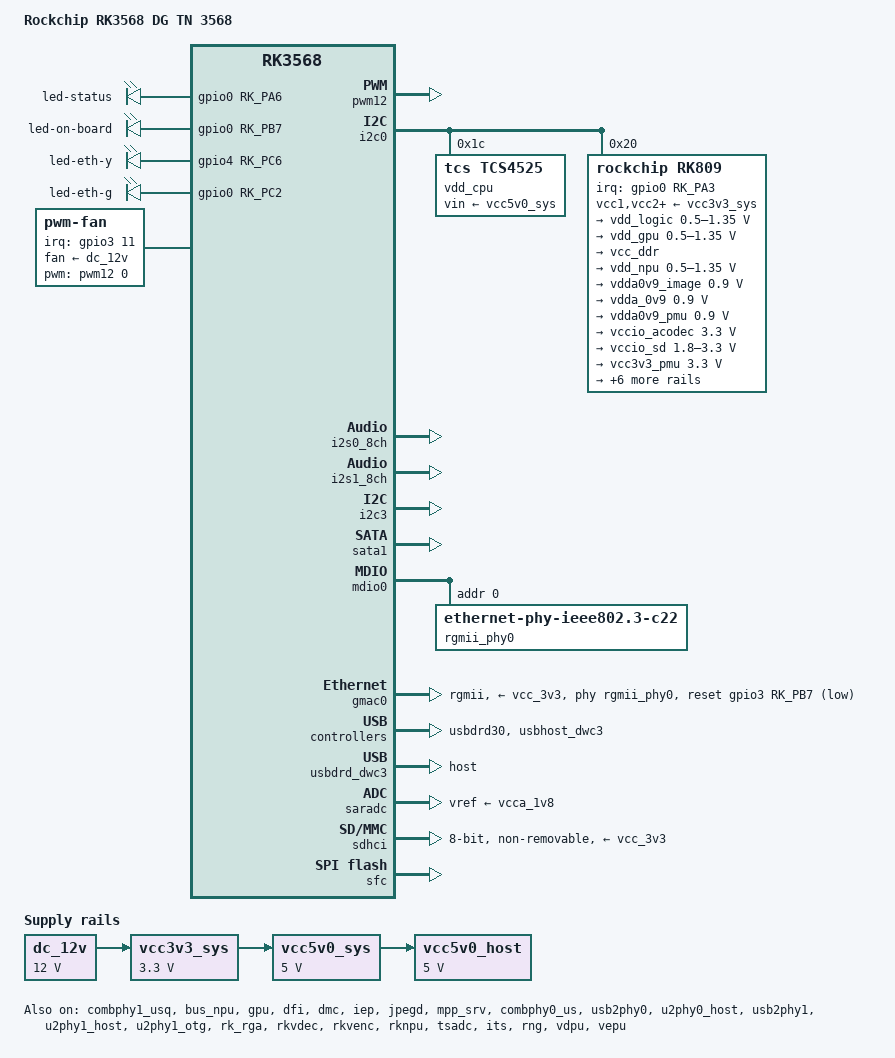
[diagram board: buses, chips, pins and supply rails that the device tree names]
// SPDX-License-Identifier: (GPL-2.0+ OR MIT)
/*
 * Copyright (c) 2020 Rockchip Electronics Co., Ltd.
 *
 */

/dts-v1/;

#include <dt-bindings/gpio/gpio.h>
#include <dt-bindings/pwm/pwm.h>
#include <dt-bindings/pinctrl/rockchip.h>
#include <dt-bindings/input/rk-input.h>
#include <dt-bindings/input/rk-ir.h>
#include <dt-bindings/display/drm_mipi_dsi.h>
#include <dt-bindings/display/rockchip_vop.h>
#include <dt-bindings/sensor-dev.h>
#include <dt-bindings/display/rockchip_vop.h>
#include "rk3568.dtsi"
#include "rk3568-linux.dtsi"

/ {

    model = "Rockchip RK3568 DG TN 3568";
	compatible = "rockchip,DG-tn3568", "rockchip,rk3568";
	
	chosen: chosen {
		bootargs = "earlycon=uart8250,mmio32,0xfe660000 console=ttyFIQ0";
	};


	dc_12v: dc-12v {
		compatible = "regulator-fixed";
		regulator-name = "dc_12v";
		regulator-always-on;
		regulator-boot-on;
		regulator-min-microvolt = <12000000>;
		regulator-max-microvolt = <12000000>;
	};

	vcc3v3_sys: vcc3v3-sys {
		compatible = "regulator-fixed";
		regulator-name = "vcc3v3_sys";
		regulator-always-on;
		regulator-boot-on;
		regulator-min-microvolt = <3300000>;
		regulator-max-microvolt = <3300000>;
		vin-supply = <&dc_12v>;
	};	


	vcc5v0_sys: vcc5v0-sys {
		compatible = "regulator-fixed";
		regulator-name = "vcc5v0_sys";
		regulator-always-on;
		regulator-boot-on;
		regulator-min-microvolt = <5000000>;
		regulator-max-microvolt = <5000000>;
		vin-supply = <&vcc3v3_sys>;
	};

	vcc5v0_host: vcc5v0-host-regulator {
		compatible = "regulator-fixed";
		regulator-name = "vcc5v0_host";
		regulator-boot-on;
		regulator-always-on;
		regulator-min-microvolt = <5000000>;
		regulator-max-microvolt = <5000000>;

		vin-supply = <&vcc5v0_sys>;

	};

	test-power {
		status = "okay";
	};	

	leds {
		compatible = "gpio-leds";

		led_status: led-status {
			label = "led-status";
			gpios = <&gpio0 RK_PA6 GPIO_ACTIVE_HIGH>;
			linux,default-trigger = "heartbeat";
			pinctrl-names = "default";
			pinctrl-0 = <&led_sys_h>;
		};

		led_on_board: led-on-board {
			label = "led-on-board";
			gpios = <&gpio0 RK_PB7 GPIO_ACTIVE_HIGH>;
			//linux,default-trigger = "heartbeat";
			pinctrl-names = "default";
			pinctrl-0 = <&led_on_board_h>;
		};

		led_eth_y: led-eth-y {
			label = "led-eth-y";
			gpios = <&gpio4 RK_PC6 GPIO_ACTIVE_HIGH>;
			linux,default-trigger = "default-on";
			pinctrl-names = "default";
			pinctrl-0 = <&led_eth_y_h>;
		};

		led_eth_g: led-eth-g {
			label = "led-eth-g";
			gpios = <&gpio0 RK_PC2 GPIO_ACTIVE_HIGH>;
			linux,default-trigger = "default-on";
			pinctrl-names = "default";
			pinctrl-0 = <&led_eth_g_h>;
		};
	};

	fan: pwm-fan {
		compatible = "pwm-fan";
		pwms = <&pwm12 0 40000 0>;
		fan-supply = <&dc_12v>;
		interrupt-parent = <&gpio3>;
		interrupts = <11 IRQ_TYPE_EDGE_FALLING>;
		pulses-per-revolution = <2>;
        cooling-levels = <0 50 100 150 200 255>;
        rockchip,temp-trips = <
                40000   1
                50000   2
                55000   3
                60000   4
                70000   5
        >;			
	};
	
};

/* 对应主线 combphy1 */
&combphy1_usq { 
	phy-supply = <&vcc5v0_host>;
    status = "okay"; 
};

/* 对应主线 combphy2 */
&combphy2_psq {
	status = "disabled";
};

&bus_npu {
	bus-supply = <&vdd_logic>;
	pvtm-supply = <&vdd_cpu>;
	status = "okay";
};

&cpu0 {
	cpu-supply = <&vdd_cpu>;
};

&cpu1 {
	cpu-supply = <&vdd_cpu>;
};

&cpu2 {
	cpu-supply = <&vdd_cpu>;
};

&cpu3 {
	cpu-supply = <&vdd_cpu>;
};

&gpu {
	//clock-names = "gpu", "bus";
	//interrupt-names = "gpu", "mmu", "job";
	mali-supply = <&vdd_gpu>;
	status = "okay";
};

&dfi {
	status = "okay";
};

&dmc {
	center-supply = <&vdd_logic>;
	status = "okay";

	system-status-level = <
		/*system status         freq level*/
		SYS_STATUS_NORMAL      DMC_FREQ_LEVEL_MID_HIGH 
	>;
	
	auto-freq-en = <0>;

};

&pwm12 {
	pinctrl-0 = <&pwm12m1_pins>;
	pinctrl-names = "active";
	status = "okay";
};


&i2c0 {
	status = "okay";


	vdd_cpu: regulator@1c {
		compatible = "tcs,tcs4525";
		reg = <0x1c>;
		fcs,suspend-voltage-selector = <1>;
		regulator-name = "vdd_cpu";
		regulator-min-microvolt = <800000>;
		regulator-max-microvolt = <1150000>;
		regulator-ramp-delay = <2300>;
		regulator-always-on;
		regulator-boot-on;
		vin-supply = <&vcc5v0_sys>;

		regulator-state-mem {
			regulator-off-in-suspend;
		};
	};

	rk809: pmic@20 {
		compatible = "rockchip,rk809";
		reg = <0x20>;
		interrupt-parent = <&gpio0>;
		interrupts = <RK_PA3 IRQ_TYPE_LEVEL_LOW>;
		#clock-cells = <1>;
		#sound-dai-cells = <0>;
		clock-output-names = "rk808-clkout1", "rk808-clkout2";
		pinctrl-names = "default";
		pinctrl-0 = <&pmic_int_l>;
		rockchip,system-power-controller;
		wakeup-source;

		vcc1-supply = <&vcc3v3_sys>;
		vcc2-supply = <&vcc3v3_sys>;
		vcc3-supply = <&vcc3v3_sys>;
		vcc4-supply = <&vcc3v3_sys>;
		vcc5-supply = <&vcc3v3_sys>;
		vcc6-supply = <&vcc3v3_sys>;
		vcc7-supply = <&vcc3v3_sys>;
		vcc8-supply = <&vcc3v3_sys>;
		vcc9-supply = <&vcc3v3_sys>;

		pwrkey {
			status = "okay";
		};

		pinctrl_rk8xx: pinctrl_rk8xx {
			gpio-controller;
			#gpio-cells = <2>;

			rk817_slppin_null: rk817_slppin_null {
				pins = "gpio_slp";
				function = "pin_fun0";
			};

			rk817_slppin_slp: rk817_slppin_slp {
				pins = "gpio_slp";
				function = "pin_fun1";
			};

			rk817_slppin_pwrdn: rk817_slppin_pwrdn {
				pins = "gpio_slp";
				function = "pin_fun2";
			};

			rk817_slppin_rst: rk817_slppin_rst {
				pins = "gpio_slp";
				function = "pin_fun3";
			};
		};

		regulators {
			vdd_logic: DCDC_REG1 {
				regulator-name = "vdd_logic";
				regulator-always-on;
				regulator-boot-on;
				regulator-min-microvolt = <500000>;
				regulator-max-microvolt = <1350000>;
				regulator-init-microvolt = <900000>;
				regulator-ramp-delay = <6001>;
				regulator-initial-mode = <0x2>;
				regulator-state-mem {
					regulator-off-in-suspend;
				};
			};

			vdd_gpu: DCDC_REG2 {
				regulator-name = "vdd_gpu";
				regulator-always-on;
				regulator-boot-on;
				regulator-min-microvolt = <500000>;
				regulator-max-microvolt = <1350000>;
				regulator-init-microvolt = <900000>;
				regulator-ramp-delay = <6001>;
				regulator-initial-mode = <0x2>;
					regulator-state-mem {
					regulator-off-in-suspend;
				};
			};

			vcc_ddr: DCDC_REG3 {
				regulator-always-on;
				regulator-boot-on;
				regulator-initial-mode = <0x2>;
				regulator-name = "vcc_ddr";
				regulator-state-mem {
					regulator-on-in-suspend;
				};
			};

			vdd_npu: DCDC_REG4 {
				regulator-always-on;
				regulator-boot-on;
				regulator-min-microvolt = <500000>;
				regulator-max-microvolt = <1350000>;
				regulator-init-microvolt = <900000>;
				regulator-initial-mode = <0x2>;
				regulator-name = "vdd_npu";
				regulator-state-mem {
					regulator-off-in-suspend;
				};
			};

			vdda0v9_image: LDO_REG1 {
				regulator-always-on;
				regulator-boot-on;
				regulator-min-microvolt = <900000>;
				regulator-max-microvolt = <900000>;
				regulator-name = "vdda0v9_image";
				regulator-state-mem {
					regulator-off-in-suspend;
				};
			};

			vdda_0v9: LDO_REG2 {
				regulator-always-on;
				regulator-boot-on;
				regulator-min-microvolt = <900000>;
				regulator-max-microvolt = <900000>;
				regulator-name = "vdda_0v9";
				regulator-state-mem {
					regulator-off-in-suspend;
				};
			};

			vdda0v9_pmu: LDO_REG3 {
				regulator-always-on;
				regulator-boot-on;
				regulator-min-microvolt = <900000>;
				regulator-max-microvolt = <900000>;
				regulator-name = "vdda0v9_pmu";
				regulator-state-mem {
					regulator-on-in-suspend;
					regulator-suspend-microvolt = <900000>;
				};
			};

			vccio_acodec: LDO_REG4 {
				regulator-always-on;
				regulator-boot-on;
				regulator-min-microvolt = <3300000>;
				regulator-max-microvolt = <3300000>;
				regulator-name = "vccio_acodec";
				regulator-state-mem {
					regulator-off-in-suspend;
				};
			};

			vccio_sd: LDO_REG5 {
				regulator-name = "vccio_sd";
				regulator-always-on;
				regulator-boot-on;
				regulator-min-microvolt = <1800000>;
				regulator-max-microvolt = <3300000>;

				regulator-state-mem {
					regulator-off-in-suspend;
				};
			};

			vcc3v3_pmu: LDO_REG6 {
				regulator-name = "vcc3v3_pmu";
				regulator-always-on;
				regulator-boot-on;
				regulator-min-microvolt = <3300000>;
				regulator-max-microvolt = <3300000>;

				regulator-state-mem {
					regulator-on-in-suspend;
					regulator-suspend-microvolt = <3300000>;
				};
			};

			vcca_1v8: LDO_REG7 {
				regulator-name = "vcca_1v8";
				regulator-always-on;
				regulator-boot-on;
				regulator-min-microvolt = <1800000>;
				regulator-max-microvolt = <1800000>;

				regulator-state-mem {
					regulator-off-in-suspend;
				};
			};

			vcca1v8_pmu: LDO_REG8 {
				regulator-name = "vcca1v8_pmu";
				regulator-always-on;
				regulator-boot-on;
				regulator-min-microvolt = <1800000>;
				regulator-max-microvolt = <1800000>;

				regulator-state-mem {
					regulator-on-in-suspend;
					regulator-suspend-microvolt = <1800000>;
				};
			};

			vcca1v8_image: LDO_REG9 {
				regulator-name = "vcca1v8_image";
				regulator-min-microvolt = <1800000>;
				regulator-max-microvolt = <1800000>;

				regulator-state-mem {
					regulator-off-in-suspend;
				};
			};

			vcc_1v8: DCDC_REG5 {
				regulator-always-on;
				regulator-boot-on;
				regulator-min-microvolt = <1800000>;
				regulator-max-microvolt = <1800000>;
				regulator-name = "vcc_1v8";
				regulator-state-mem {
					regulator-off-in-suspend;
				};
			};

			vcc_3v3: SWITCH_REG1 {
				regulator-name = "vcc_3v3";
				regulator-always-on;
				regulator-boot-on;

				regulator-state-mem {
					regulator-off-in-suspend;
				};
			};

			vcc3v3_sd: SWITCH_REG2 {
				regulator-name = "vcc3v3_sd";
				regulator-always-on;
				regulator-boot-on;

				regulator-state-mem {
					regulator-off-in-suspend;
				};
			};
		};
	};
};

&i2s0_8ch {
	status = "okay";
};

&i2s1_8ch {
	status = "okay";
	rockchip,clk-trcm = <1>;
	pinctrl-names = "default";
	pinctrl-0 = <&i2s1m0_sclktx
		     &i2s1m0_lrcktx
		     &i2s1m0_sdi0
		     &i2s1m0_sdo0>;
};

&i2c3 {
	status = "okay";
};

&iep {
	status = "okay";
};

&iep_mmu {
	status = "okay";
};

&jpegd {
	status = "okay";
};

&jpegd_mmu {
	status = "okay";
};

&mpp_srv {
	status = "okay";
};

&sata1 {
    status = "okay";
};

&mdio0 {
	rgmii_phy0: phy@0 {
		compatible = "ethernet-phy-ieee802.3-c22";
		reg = <0x0>;
	};
};

&gmac0 {
	phy-mode = "rgmii";
	clock_in_out = "input";

	snps,reset-gpio = <&gpio3 RK_PB7 GPIO_ACTIVE_LOW>;
	snps,reset-active-low;
	/* Reset time is 20ms, 100ms for rtl8211f */
	snps,reset-delays-us = <0 20000 100000>;

	assigned-clocks = <&cru SCLK_GMAC0_RX_TX>, <&cru SCLK_GMAC0>;
	assigned-clock-parents = <&cru SCLK_GMAC0_RGMII_SPEED>, <&cru CLK_MAC0_2TOP>;
	assigned-clock-rates = <0>, <125000000>;

	pinctrl-names = "default";
	pinctrl-0 = <&gmac0_miim
		     &gmac0_tx_bus2
		     &gmac0_rx_bus2
		     &gmac0_rgmii_clk
		     &gmac0_rgmii_bus>;

	tx_delay = <0x2a>;
	rx_delay = <0x2a>;

	phy-handle = <&rgmii_phy0>;
	phy-supply = <&vcc_3v3>;
	status = "okay";
};	

/*
// 对应lede usb2phy0_otg
&u2phy0_otg {
	vbus-supply = <&vcc5v0_host>;
	status = "disabled";
};

// lede usb2phy1_otg
&u2phy1_otg {
	status = "okay";
};

&usb_host0_ehci {
	status = "okay";
};

&usb_host0_ohci {
	status = "okay";
};

&usb_host1_ehci {
	status = "okay";
};

&usb_host1_ohci {
	status = "okay";
};

//主线无
&usbhost30 {
	status = "okay";
};
*/

//USB3.0 OTG PHY 对应主线combphy0
&combphy0_us {
	status = "okay";
	phy-supply = <&vcc5v0_host>;
};

//主线无
&usbdrd30 {
	status = "okay";
};

/*USB3.0 controller 对应主线 usb_host0_xhci */
&usbdrd_dwc3 {
	dr_mode = "host";
	status = "okay";
};

&usb2phy0 {
	status = "okay";
};

/* 对应主线 usb2phy0_host */
&u2phy0_host {
	phy-supply = <&vcc5v0_host>;
	status = "okay";
};

/*USB 3.0 HOST 与 SATA1 复用 对应主线 usb_host1_xhci */
&usbhost_dwc3 { 
    status = "okay"; 
};

&usb2phy1 {
	vbus-supply = <&vcc5v0_host>;
	status = "okay";
};

/* 对应主线 usb2phy1_host */
&u2phy1_host {
	phy-supply = <&vcc5v0_host>;
	status = "okay";
};

/* 对应主线 usb2phy1_host */
&u2phy1_otg {
	//dg-r phy-supply = <&vcc5v0_host>;
	status = "okay";
};

/* USB 3.0 HOST 与 SATA1 复用 对应主线 usb_host1_xhci */
&usbhost_dwc3 { 
    status = "okay"; 
};

&pinctrl {


	pmic {
		pmic_int_l: pmic-int-l {
			rockchip,pins = <0 RK_PA3 RK_FUNC_GPIO &pcfg_pull_up>;
		};
	};
	
	leds {
		led_eth_y_h: led_eth_y_h {
			rockchip,pins = <4 RK_PC6 RK_FUNC_GPIO &pcfg_pull_none>;
		};

		led_eth_g_h: led_eth_g_h {
			rockchip,pins = <0 RK_PC2 RK_FUNC_GPIO &pcfg_pull_none>;
		};

		led_sys_h: led_sys_h {
			rockchip,pins = <0 RK_PA6 RK_FUNC_GPIO &pcfg_pull_none>;
		};

		led_on_board_h: led_on_board_h {
			rockchip,pins = <0 RK_PB7 RK_FUNC_GPIO &pcfg_pull_none>;
		};
	};
};

&pmu_io_domains {
	pmuio1-supply = <&vcc3v3_pmu>;
	pmuio2-supply = <&vcc3v3_pmu>;
	vccio1-supply = <&vccio_acodec>;
	vccio2-supply = <&vcc_1v8>;
	vccio3-supply = <&vccio_sd>;
	vccio4-supply = <&vcc_1v8>;
	vccio5-supply = <&vcc_3v3>;
	vccio6-supply = <&vcc_1v8>;
	vccio7-supply = <&vcc_3v3>;
	status = "okay";	
};

&rk_rga {
	status = "okay";
};

&rkvdec {
	status = "okay";
};

&rkvdec_mmu {
	status = "okay";
};

&rkvenc {
	venc-supply = <&vdd_logic>;
	status = "okay";
};

&rkvenc_mmu {
	status = "okay";
};

&rknpu {
	rknpu-supply = <&vdd_npu>;
	status = "okay";
};

&rknpu_mmu {
	status = "okay";
};

&saradc {
	status = "okay";
	vref-supply = <&vcca_1v8>;
};

&sdhci {
	bus-width = <8>;
	supports-emmc;
	non-removable;
	max-frequency = <200000000>;
	mmc-hs200-1_8v;
	vmmc-supply = <&vcc_3v3>;
	vqmmc-supply = <&vcc_1v8>;
	status = "okay";
};

&sfc {
	status = "okay";
};

&spdif_8ch {
	status = "disabled";
};

&tsadc {
	status = "okay";
};

&its {
	status = "okay";
};

&rng {
	status = "okay";
};

&vdpu {
	status = "okay";
};

&vdpu_mmu {
	status = "okay";
};

&vepu {
	status = "okay";
};

&vepu_mmu {
	status = "okay";
};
